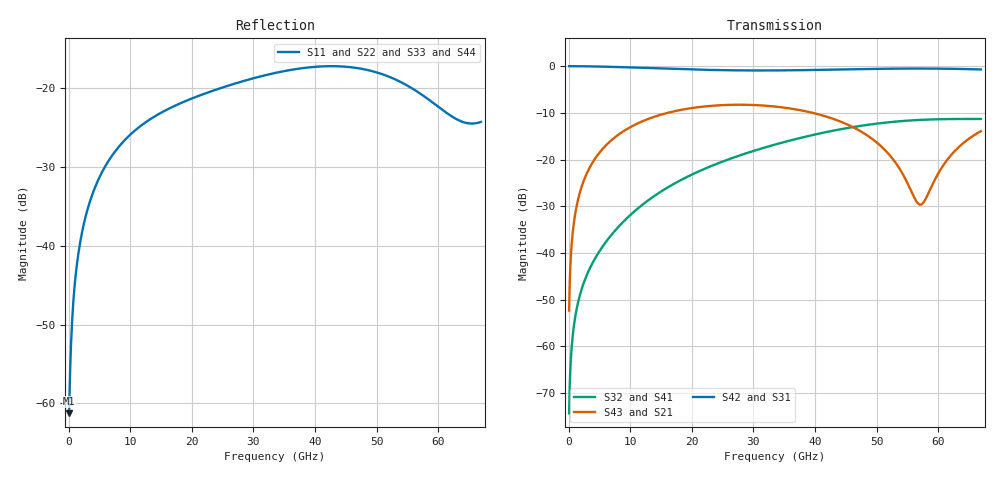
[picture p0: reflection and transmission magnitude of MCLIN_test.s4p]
! Created with skrf (http://scikit-rf.org).
# Hz S RI R 50.0
!freq ReS11 ImS11 ReS12 ImS12 ReS13 ImS13
! ReS14 ImS14
! ReS21 ImS21 ReS22 ImS22 ReS23 ImS23
! ReS24 ImS24
! ReS31 ImS31 ReS32 ImS32 ReS33 ImS33
! ReS34 ImS34
! ReS41 ImS41 ReS42 ImS42 ReS43 ImS43
! ReS44 ImS44
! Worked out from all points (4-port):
!   669 points, 100 MHz to 66.9 GHz, reference 50 ohm
!   strongest paths, dB at 100 MHz, 16.8 GHz, 33.5 GHz, 50.2 GHz, 66.9 GHz:
!     S42: 0.0, -0.6, -0.9, -0.6, -0.7
!     S31: 0.0, -0.6, -0.9, -0.6, -0.7
!     S43: -52.3, -9.8, -8.7, -16.6, -13.9
!     S21: -52.3, -9.8, -8.7, -16.6, -13.9
!     S32: -74.3, -25.4, -16.8, -12.3, -11.3
!     S41: -74.3, -25.4, -16.8, -12.3, -11.3
!   lowest |S11| = -61.3 dB at 100 MHz (marker M1), VSWR 1.00, Z = 50.1 - j0.056 ohm
!   |S11| at or under -10 dB: start of sweep to end of sweep
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1e8  0.000661 -0.000559  5.17e-05 0.00242  0.9993 -0.00618  -3.1e-05 -0.00019
     5.17e-05 0.00242  0.000661 -0.000559  -3.1e-05 -0.00019  0.9993 -0.00618
     0.9993 -0.00618  -3.1e-05 -0.00019  0.000661 -0.000559  5.17e-05 0.00242
     -3.1e-05 -0.00019  0.9993 -0.00618  5.17e-05 0.00242  0.000661 -0.000559
1e9  0.000641 -0.00559  0.00162 0.0241  0.9967 -0.0617  -6.13e-05 -0.0019
     0.00162 0.0241  0.000641 -0.00559  -6.13e-05 -0.0019  0.9967 -0.0617
     0.9967 -0.0617  -6.13e-05 -0.0019  0.000641 -0.00559  0.00162 0.0241
     -6.13e-05 -0.0019  0.9967 -0.0617  0.00162 0.0241  0.000641 -0.00559
2.9e9  -0.00111 -0.016  0.0125 0.0684  0.9796 -0.1772  2.78e-05 -0.00566
       0.0125 0.0684  -0.00111 -0.016  2.78e-05 -0.00566  0.9796 -0.1772
       0.9796 -0.1772  2.78e-05 -0.00566  -0.00111 -0.016  0.0125 0.0684
       2.78e-05 -0.00566  0.9796 -0.1772  0.0125 0.0684  -0.00111 -0.016
1.27e10  -0.0339 -0.0515  0.1844 0.1952  0.6904 -0.661  -0.00906 -0.0345
         0.1844 0.1952  -0.0339 -0.0515  -0.00906 -0.0345  0.6904 -0.661
         0.6904 -0.661  -0.00906 -0.0345  -0.0339 -0.0515  0.1844 0.1952
         -0.00906 -0.0345  0.6904 -0.661  0.1844 0.1952  -0.0339 -0.0515
4.19e10  -0.1328 0.0385  0.2292 -0.1735  -0.6325 -0.6611  -0.1688 0.1023
         0.2292 -0.1735  -0.1328 0.0385  -0.1688 0.1023  -0.6325 -0.6611
         -0.6325 -0.6611  -0.1688 0.1023  -0.1328 0.0385  0.2292 -0.1735
         -0.1688 0.1023  -0.6325 -0.6611  0.2292 -0.1735  -0.1328 0.0385
5.71e10  0.00462 0.0924  0.0329 -1.73e-05  -0.9402 0.0734  0.0173 0.2653
         0.0329 -1.73e-05  0.00462 0.0924  0.0173 0.2653  -0.9402 0.0734
         -0.9402 0.0734  0.0173 0.2653  0.00462 0.0924  0.0329 -1.73e-05
         0.0173 0.2653  -0.9402 0.0734  0.0329 -1.73e-05  0.00462 0.0924
6.69e10  0.0592 -0.0158  0.1349 0.1498  -0.7236 0.5707  0.1704 0.2122
         0.1349 0.1498  0.0592 -0.0158  0.1704 0.2122  -0.7236 0.5707
         -0.7236 0.5707  0.1704 0.2122  0.0592 -0.0158  0.1349 0.1498
         0.1704 0.2122  -0.7236 0.5707  0.1349 0.1498  0.0592 -0.0158
